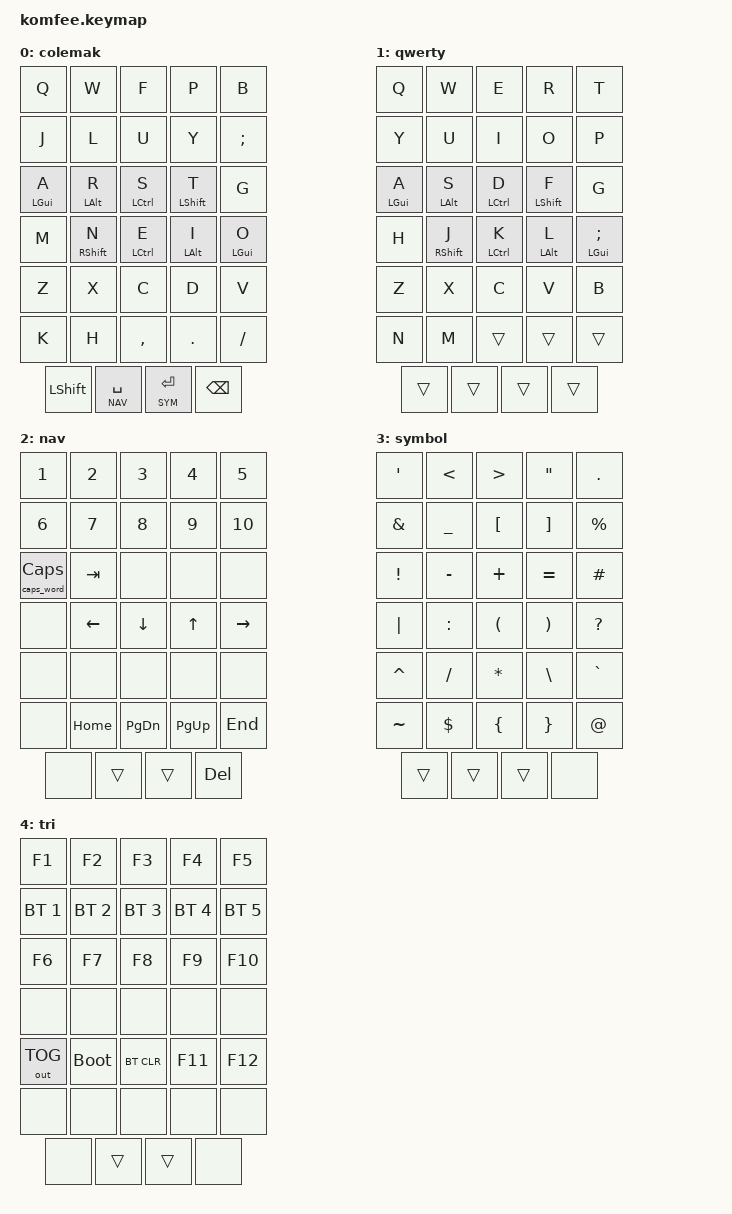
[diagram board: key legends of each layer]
#include <behaviors.dtsi>
#include <dt-bindings/zmk/keys.h>
#include <dt-bindings/zmk/bt.h>
#include <dt-bindings/zmk/outputs.h>

#define COL 0
#define QWE 1
#define NAV 2
#define SYM 3
#define TRI 4

&lt {
    tapping-term-ms = <170>;
};

/ {
    behaviors {

#define KEYS_L 0 1 2 3 4 10 11 12 13 14 20 21 22 23 24
#define KEYS_R 5 6 7 8 9 15 16 17 18 19 25 26 27 28 29
#define KEYS_T 30 31 32 33

#define MAKE_HRM(NAME,TRIGGER_POS) \
    NAME: NAME { \
        compatible = "zmk,behavior-hold-tap"; \
        #binding-cells = <2>; \
        flavor = "balanced"; \
        tapping-term-ms = <170>; \
        bindings = <&kp>, <&kp>; \
        hold-trigger-key-positions = <TRIGGER_POS>; \
        hold-trigger-on-release; \
    };

        MAKE_HRM(hrml, KEYS_L KEYS_T)
        MAKE_HRM(hrmr, KEYS_R KEYS_T)

        caps: caps_hold {
            compatible = "zmk,behavior-hold-tap";
            #binding-cells = <2>;
            flavor = "tap-preferred";
            tapping-term-ms = <200>;
            bindings = <&caps_word>, <&kp>;
        };
    };

    conditional_layers {
        compatible = "zmk,conditional-layers";
        tri_layer {
            if-layers = <NAV SYM>;
            then-layer = <TRI>;
        };
    };

    keymap {
        compatible = "zmk,keymap";

        #define CAPSHOLD &caps 0 CAPS
        #define BTSEL &bt BT_SEL        
        #define BTCLR &bt BT_CLR        
        #define OUTTG &out OUT_TOG        

        colemak {
            /*
             * -------------------------------    -------------------------------
             * |  Q  |  W  |  F  |  P  |  B  |    |  J  |  L  |  U  |  Y  |  ;  |
             * | A^g | R^a | S^c | T^s |  G  |    |  M  | N^s | E^c | I^a | O^g |
             * |  Z  |  X  |  C  |  D  |  V  |    |  K  |  H  |  ,  |  .  |  /  |
             * -----------------|LSHFT|SPC^NAV|  |RET^SYM|BKSPC|-----------------
             *                  ---------------  ---------------             
             */

            bindings = <
            &kp Q     &kp W     &kp F     &kp P     &kp B    
                &kp J     &kp L     &kp U     &kp Y     &kp SEMI

            &hrml LGUI A  &hrml LALT R  &hrml LCTRL S  &hrml LSHFT T  &kp G    
                &kp M     &hrmr RSHFT N  &hrmr LCTRL E  &hrmr LALT I  &hrmr LGUI O

            &kp Z     &kp X     &kp C     &kp D     &kp V    
                &kp K     &kp H     &kp COMMA &kp DOT   &kp FSLH

            &kp LSHIFT  &lt NAV SPACE    &lt SYM RET  &kp BSPC
            >;
        };

        qwerty {
            /*
             * -------------------------------    -------------------------------
             * |  Q  |  W  |  E  |  R  |  T  |    |  Y  |  U  |  I  |  O  |  P  |
             * | A^g | S^a | D^c | F^s |  G  |    |  H  | J^s | K^c | L^a | ;^g |
             * |  Z  |  X  |  C  |  V  |  B  |    |  N  |  M  |  ,  |  .  |  /  |
             * -----------------|LSHFT|SPC^NAV|  |RET^SYM|BKSPC|-----------------
             *                  ---------------  ---------------             
             */

            bindings = <
            &kp Q     &kp W     &kp E     &kp R     &kp T
                &kp Y     &kp U     &kp I     &kp O     &kp P

            &hrml LGUI A  &hrml LALT S  &hrml LCTRL D  &hrml LSHFT F  &kp G
                &kp H     &hrmr RSHFT J  &hrmr LCTRL K  &hrmr LALT L  &hrmr LGUI SEMI

            &kp Z     &kp X     &kp C     &kp V     &kp B
                &kp N     &kp M     &trans    &trans    &trans

            &trans      &trans           &trans       &trans
            >;
        };

        nav {
            /*
             * -------------------------------    -------------------------------
             * |  1  |  2  |  3  |  4  |  5  |    |  6  |  7  |  8  |  9  |  0  |
             * |CAPS | TAB |     |     |     |    |     |LEFT |DOWN | UP  |RIGHT|
             * |LYOUT|     |     |     | ESC |    |     |HOME |PGDN |PGUP | END |
             * -----------------|     |#######|  |RET^TRI| DEL |-----------------
             *                  ---------------  ---------------             
             */

            bindings = <
            &kp 1     &kp 2     &kp 3     &kp 4     &kp 5    
                &kp 6     &kp 7     &kp 8     &kp 9     &kp 10

            CAPSHOLD  &kp TAB   &none     &none     &none    
                &none     &kp LEFT  &kp DOWN  &kp UP    &kp RIGHT

            &none     &none     &none     &none     &none  
                &none     &kp HOME  &kp PG_DN &kp PG_UP &kp END  

            &none       &trans           &trans       &kp DEL
            >;
        };

        symbol {
            /*
             * -------------------------------    -------------------------------
             * |  '  |  <  |  >  |  "  |  .  |    |  &  |  _  |  [  |  ]  |  %  |
             * |  !  |  -  |  +  |  =  |  #  |    |  |  |  :  |  (  |  )  |  ?  |
             * |  ^  |  /  |  *  |  \  |  `  |    |  ~  |  $  |  {  |  }  |  @  |
             * -----------------|LSHFT|SPC^TRI|  |#######|     |-----------------
             *                  ---------------  ---------------             
             */

            bindings = <
            &kp SQT   &kp LT    &kp GT    &kp DQT   &kp DOT
                &kp AMPS  &kp UNDER &kp LBKT  &kp RBKT  &kp PRCNT

            &kp EXCL  &kp MINUS &kp PLUS  &kp EQUAL &kp HASH
                &kp PIPE  &kp COLON &kp LPAR  &kp RPAR  &kp QMARK

            &kp CARET &kp FSLH  &kp ASTRK &kp BSLH  &kp GRAVE
                &kp TILDE &kp DLLR  &kp LBRC  &kp RBRC  &kp AT

            &trans      &trans           &trans       &none
            >;
        };

        tri {
            /*
             * -------------------------------    -------------------------------
             * | F1  | F2  | F3  | F4  | F5  |    | BT1 | BT2 | BT3 | BT4 | BT5 |
             * | F6  | F7  | F8  | F9  | F10 |    |     |     |     |     |     |
             * |OUTTG|RESET|BTCLR| F11 | F12 |    |     |     |     |     |     |
             * -----------------|     |#######|  |#######|     |-----------------
             *                  ---------------  ---------------             
             */

            bindings = <
            &kp F1    &kp F2    &kp F3    &kp F4    &kp F5    
                BTSEL 1   BTSEL 2   BTSEL 3   BTSEL 4   BTSEL 5   

            &kp F6    &kp F7    &kp F8    &kp F9    &kp F10   
                &none     &none     &none     &none     &none

            OUTTG     &bootloader BTCLR   &kp F11   &kp F12   
                &none     &none     &none     &none     &none

            &none       &trans           &trans         &none
            >;
        };
    };
};
